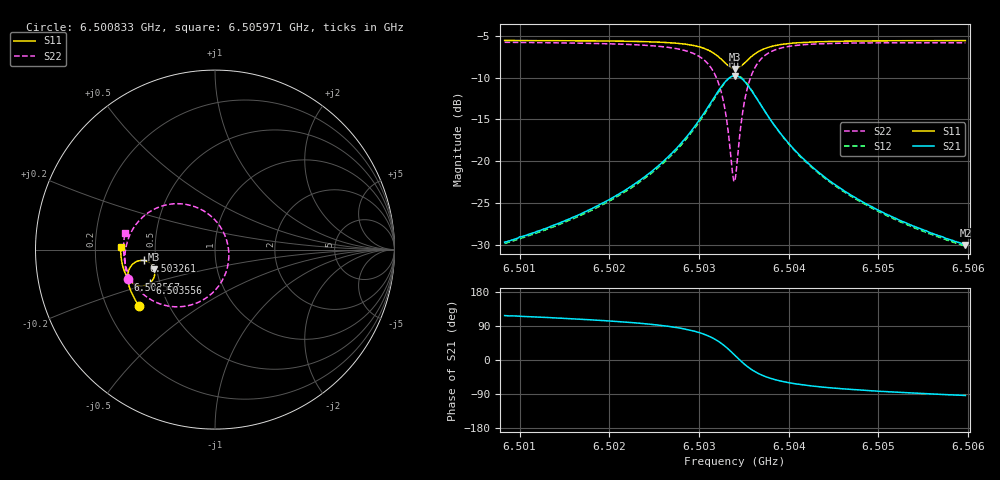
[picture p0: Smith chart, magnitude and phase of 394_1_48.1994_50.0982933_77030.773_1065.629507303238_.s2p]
#  HZ  S  RI  R  50.00
! Rohde & Schwarz Vector Network Analyzer
! Rohde-Schwarz,ZNB20-2Port,1311601062101988,3.16
! Created: UTC 3/20/2024, 11:53:44 AM
! freq[Hz]  re:S11  im:S11  re:S21  im:S21  re:S12  im:S12  re:S22  im:S22
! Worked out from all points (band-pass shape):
!   401 points, 6.500833 GHz to 6.505971 GHz, reference 50 ohm
!   highest |S21| = -9.79 dB at 6.503402 GHz (marker M1); lowest = -30.0 dB at 6.505971 GHz (marker M2)
!   |S21| within 3 dB of the highest: 6.503145 GHz to 6.503659 GHz (513.7 kHz wide, 0.0079 % of centre)
!   lowest |S11| = -9.0 dB at 6.503402 GHz (marker M3), VSWR 2.11, Z = 24.2 - j6.06 ohm
!   |S11| at or under -10 dB: nowhere
!   |S22| runs from -22.4 to -5.8 dB; largest |S21 - S12| = 0.011
!   S11 on the Smith chart (normalised r, x): 6.500833 GHz: 0.34, -0.30; 6.502567 GHz: 0.33, -0.15; 6.503261 GHz: 0.43, -0.06; 6.503556 GHz: 0.44, -0.20; 6.505971 GHz: 0.31, +0.01
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6.5008328e9  -0.4207 -0.3165  -0.015 0.0291  -0.0134 0.0293  -0.4862 -0.165
6.5016934e9  -0.4587 -0.2537  -0.0145 0.0465  -0.0121 0.0462  -0.5014 -0.0754
6.5021687e9  -0.4759 -0.2123  -0.0118 0.0657  -0.00878 0.0646  -0.4994 -0.00946
6.5025541e9  -0.4853 -0.1706  -0.00314 0.0946  0.000547 0.0924  -0.4812 0.0655
6.5025669e9  -0.4855 -0.169  -0.00263 0.0958  0.00105 0.0936  -0.48 0.0687
6.502811e9  -0.4849 -0.1338  0.0155 0.129  0.0192 0.1251  -0.4421 0.1379
6.5029909e9  -0.4737 -0.1007  0.0497 0.1649  0.0531 0.1595  -0.3746 0.204
6.5031578e9  -0.4392 -0.0675  0.1266 0.1981  0.1279 0.1916  -0.2334 0.2549
6.5032606e9  -0.3969 -0.0605  0.2113 0.1897  0.2114 0.1844  -0.0862 0.228
6.503312e9  -0.3717 -0.069  0.2592 0.1622  0.2601 0.1577  -0.00632 0.1716
6.5033762e9  -0.3451 -0.095  0.3068 0.0996  0.3092 0.0947  0.0652 0.0511
6.5034019e9  -0.3387 -0.1092  0.317 0.0678  0.3201 0.0621  0.0764 -0.00807
6.5034276e9  -0.3358 -0.1245  0.3208 0.0346  0.3242 0.0278  0.075 -0.0685
6.5034918e9  -0.3425 -0.1615  0.3035 -0.0424  0.3055 -0.052  0.021 -0.2022
6.5035561e9  -0.3634 -0.1869  0.2614 -0.0961  0.2604 -0.107  -0.0738 -0.2842
6.5036588e9  -0.4025 -0.2021  0.1878 -0.1321  0.1827 -0.1414  -0.2215 -0.3186
6.5038258e9  -0.4481 -0.1925  0.1073 -0.1295  0.1005 -0.1344  -0.3669 -0.2731
6.5040057e9  -0.4752 -0.1712  0.0634 -0.1099  0.0573 -0.1121  -0.4382 -0.2091
6.5042626e9  -0.4959 -0.1411  0.0335 -0.0861  0.0289 -0.0867  -0.4813 -0.1376
6.5046351e9  -0.5111 -0.1027  0.0152 -0.0639  0.0119 -0.0636  -0.5032 -0.0653
6.5051232e9  -0.521 -0.0578  0.00494 -0.0472  0.00279 -0.0465  -0.5097 0.00235
6.505971e9  -0.5258 0.0136  -0.00201 -0.0316  -0.00333 -0.0309  -0.5017 0.0908
